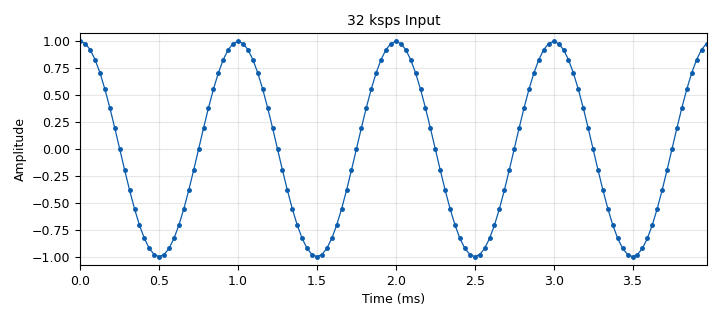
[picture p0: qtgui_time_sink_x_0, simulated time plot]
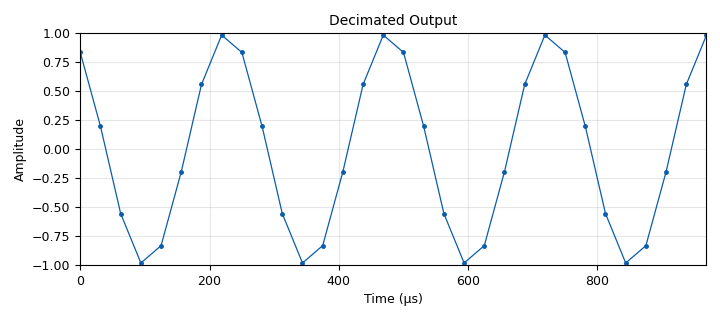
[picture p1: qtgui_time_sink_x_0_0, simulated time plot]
options:
  parameters:
    author: Rachit Garg
    description: Decimate the input wave by a factor of 4
    generate_options: qt_gui
    id: decimate
    output_language: python
    title: Decimate
  states: {}

blocks:
- name: samp_rate
  id: variable
  parameters:
    value: '32000'
  states: {}
- name: analog_sig_source_x_0
  id: analog_sig_source_x
  parameters:
    amp: '1'
    freq: '1000'
    offset: '0'
    phase: '0'
    samp_rate: samp_rate
    type: float
    waveform: analog.GR_COS_WAVE
  states: {}
- name: blocks_keep_one_in_n_0
  id: blocks_keep_one_in_n
  parameters:
    n: '4'
    type: float
  states: {}
- name: blocks_throttle2_0
  id: blocks_throttle2
  parameters:
    samples_per_second: samp_rate
    type: float
  states: {}
- name: qtgui_time_sink_x_0
  id: qtgui_time_sink_x
  parameters:
    marker1: '0'
    name: '"32 ksps Input"'
    size: '128'
    srate: samp_rate
    type: float
  states: {}
- name: qtgui_time_sink_x_0_0
  id: qtgui_time_sink_x
  parameters:
    marker1: '0'
    name: '"Decimated Output"'
    size: '32'
    srate: samp_rate
    type: float
  states: {}

connections:
- [analog_sig_source_x_0, '0', blocks_throttle2_0, '0']
- [blocks_keep_one_in_n_0, '0', qtgui_time_sink_x_0_0, '0']
- [blocks_throttle2_0, '0', blocks_keep_one_in_n_0, '0']
- [blocks_throttle2_0, '0', qtgui_time_sink_x_0, '0']

metadata:
  file_format: 1
  grc_version: 3.10.12.0
